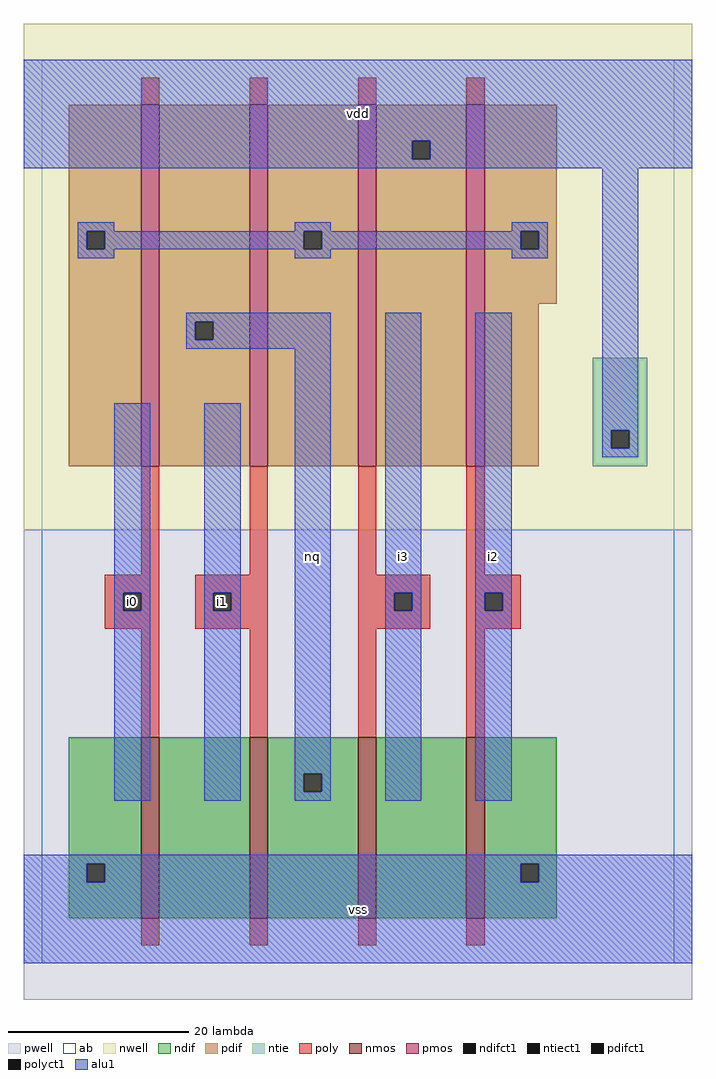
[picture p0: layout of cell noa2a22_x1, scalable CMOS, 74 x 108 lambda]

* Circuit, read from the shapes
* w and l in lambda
.subckt noa2a22_x1 i0 i1 i2 i3 nq vdd vss
M1 n1 i0 vss VSUBS nfet w=20 l=2
M2 nq i1 n1 VSUBS nfet w=20 l=2
M3 n2 i3 nq VSUBS nfet w=20 l=2
M4 vss i2 n2 VSUBS nfet w=20 l=2
M5 nq i0 n3 vdd pfet w=40 l=2
M6 n3 i1 nq vdd pfet w=40 l=2
M7 vdd i3 n3 vdd pfet w=40 l=2
M8 n3 i2 vdd vdd pfet w=40 l=2
.ends

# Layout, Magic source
magic
tech scmos
<< ab >>
rect 0 0 70 100
<< nwell >>
rect -2 48 72 104
<< pwell >>
rect -2 -4 72 48
<< poly >>
rect 11 95 13 98
rect 23 95 25 98
rect 35 95 37 98
rect 47 95 49 98
rect 11 43 13 55
rect 23 43 25 55
rect 7 41 13 43
rect 7 39 9 41
rect 11 39 13 41
rect 7 37 13 39
rect 17 41 25 43
rect 17 39 19 41
rect 21 39 25 41
rect 17 37 25 39
rect 11 25 13 37
rect 23 25 25 37
rect 35 43 37 55
rect 47 43 49 55
rect 35 41 43 43
rect 35 39 39 41
rect 41 39 43 41
rect 35 37 43 39
rect 47 41 53 43
rect 47 39 49 41
rect 51 39 53 41
rect 47 37 53 39
rect 35 25 37 37
rect 47 25 49 37
rect 11 2 13 5
rect 23 2 25 5
rect 35 2 37 5
rect 47 2 49 5
<< ndif >>
rect 3 11 11 25
rect 3 9 5 11
rect 7 9 11 11
rect 3 5 11 9
rect 13 5 23 25
rect 25 21 35 25
rect 25 19 29 21
rect 31 19 35 21
rect 25 5 35 19
rect 37 5 47 25
rect 49 11 57 25
rect 49 9 53 11
rect 55 9 57 11
rect 49 5 57 9
<< pdif >>
rect 3 81 11 95
rect 3 79 5 81
rect 7 79 11 81
rect 3 55 11 79
rect 13 71 23 95
rect 13 69 17 71
rect 19 69 23 71
rect 13 55 23 69
rect 25 81 35 95
rect 25 79 29 81
rect 31 79 35 81
rect 25 55 35 79
rect 37 91 47 95
rect 37 89 41 91
rect 43 89 47 91
rect 37 55 47 89
rect 49 81 57 95
rect 49 79 53 81
rect 55 79 57 81
rect 49 73 57 79
rect 49 55 55 73
<< alu1 >>
rect -2 91 72 100
rect -2 89 41 91
rect 43 89 72 91
rect -2 88 72 89
rect 4 81 8 82
rect 28 81 32 82
rect 52 81 56 82
rect 4 79 5 81
rect 7 79 29 81
rect 31 79 53 81
rect 55 79 56 81
rect 4 78 8 79
rect 28 78 32 79
rect 52 78 56 79
rect 16 71 32 72
rect 16 69 17 71
rect 19 69 32 71
rect 16 68 32 69
rect 8 41 12 62
rect 8 39 9 41
rect 11 39 12 41
rect 8 18 12 39
rect 18 41 22 62
rect 18 39 19 41
rect 21 39 22 41
rect 18 18 22 39
rect 28 21 32 68
rect 28 19 29 21
rect 31 19 32 21
rect 28 18 32 19
rect 38 41 42 72
rect 38 39 39 41
rect 41 39 42 41
rect 38 18 42 39
rect 48 41 52 72
rect 62 59 66 88
rect 62 57 63 59
rect 65 57 66 59
rect 62 56 66 57
rect 48 39 49 41
rect 51 39 52 41
rect 48 18 52 39
rect -2 11 72 12
rect -2 9 5 11
rect 7 9 53 11
rect 55 9 72 11
rect -2 0 72 9
<< ntie >>
rect 61 59 67 67
rect 61 57 63 59
rect 65 57 67 59
rect 61 55 67 57
<< nmos >>
rect 11 5 13 25
rect 23 5 25 25
rect 35 5 37 25
rect 47 5 49 25
<< pmos >>
rect 11 55 13 95
rect 23 55 25 95
rect 35 55 37 95
rect 47 55 49 95
<< polyct1 >>
rect 9 39 11 41
rect 19 39 21 41
rect 39 39 41 41
rect 49 39 51 41
<< ndifct1 >>
rect 5 9 7 11
rect 29 19 31 21
rect 53 9 55 11
<< ntiect1 >>
rect 63 57 65 59
<< pdifct1 >>
rect 5 79 7 81
rect 17 69 19 71
rect 29 79 31 81
rect 41 89 43 91
rect 53 79 55 81
<< labels >>
rlabel polyct1 10 40 10 40 6 i0
rlabel polyct1 20 40 20 40 6 i1
rlabel alu1 30 45 30 45 6 nq
rlabel alu1 35 6 35 6 6 vss
rlabel alu1 40 45 40 45 6 i3
rlabel alu1 50 45 50 45 6 i2
rlabel alu1 35 94 35 94 6 vdd
<< end >>
